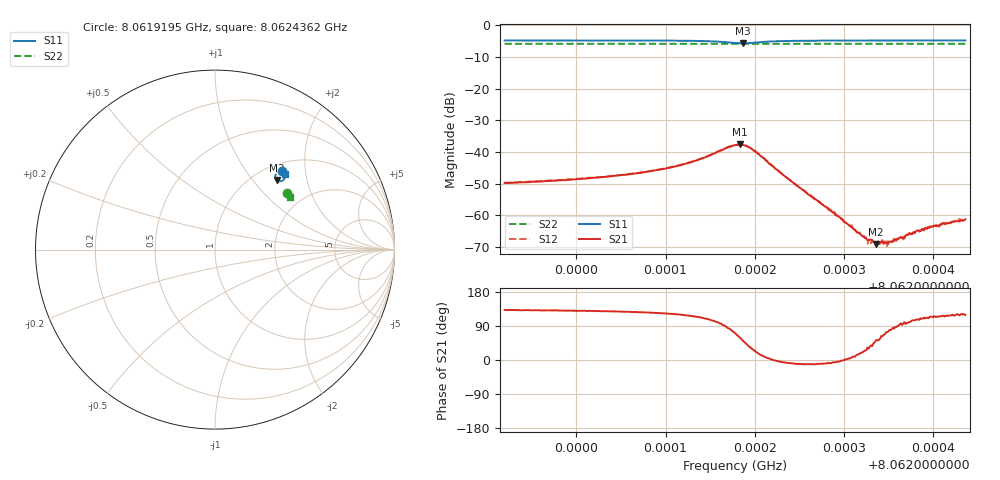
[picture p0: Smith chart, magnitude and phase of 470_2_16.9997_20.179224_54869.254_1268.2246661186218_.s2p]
#  HZ  S  RI  R  50.00
! Rohde & Schwarz Vector Network Analyzer
! Rohde-Schwarz,ZNB20-2Port,1311601062101988,3.16
! Created: UTC 3/20/2024, 11:13:08 PM
! freq[Hz]  re:S11  im:S11  re:S21  im:S21  re:S12  im:S12  re:S22  im:S22
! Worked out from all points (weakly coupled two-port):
!   401 points, 8.0619195 GHz to 8.0624362 GHz, reference 50 ohm
!   highest |S21| = -37.52 dB at 8.062183 GHz (marker M1); lowest = -69.1 dB at 8.0623355 GHz (marker M2)
!   lowest |S11| = -5.7 dB at 8.0621869 GHz (marker M3), VSWR 3.16, Z = 63 + j66.9 ohm
!   |S11| at or under -10 dB: nowhere
!   |S22| runs from -5.9 to -5.8 dB; largest |S21 - S12| = 0.00097
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8.06191947e9  0.3718 0.4401  -0.0022 0.00241  -0.00207 0.00253  0.4009 0.3159
8.06200603e9  0.3782 0.4339  -0.00244 0.00294  -0.00227 0.00309  0.4042 0.3116
8.06205641e9  0.3826 0.4291  -0.00267 0.00351  -0.00248 0.00372  0.406 0.309
8.06209259e9  0.3862 0.4239  -0.00293 0.00437  -0.00269 0.00459  0.4074 0.3069
8.06212747e9  0.3897 0.4145  -0.00308 0.00611  -0.00276 0.00637  0.4085 0.3049
8.06217786e9  0.3629 0.3811  0.00413 0.0122  0.00508 0.0119  0.4087 0.3013
8.06218302e9  0.3521 0.3836  0.00675 0.0115  0.00737 0.0109  0.4083 0.3013
8.0621869e9  0.3448 0.3882  0.00817 0.01  0.00876 0.00967  0.4083 0.3015
8.06219982e9  0.3363 0.4127  0.00947 0.00432  0.00987 0.00365  0.4087 0.3021
8.06223341e9  0.3593 0.4352  0.00417 -0.000462  0.00417 -0.000747  0.4112 0.3012
8.06226442e9  0.3711 0.4346  0.00191 -0.000369  0.0019 -0.00051  0.4126 0.2995
8.06230705e9  0.3792 0.4314  0.000678 4.92e-05  0.000678 -1.26e-05  0.4145 0.2973
8.06232514e9  0.3817 0.43  0.000393 0.000192  0.000408 0.000182  0.4151 0.2962
8.06233547e9  0.3828 0.4292  0.000224 0.000267  0.00027 0.000249  0.4154 0.2956
8.06233806e9  0.3831 0.4291  0.000244 0.000304  0.000253 0.000294  0.4155 0.2955
8.06234452e9  0.3838 0.4288  0.000142 0.000327  0.000182 0.000323  0.4156 0.2951
8.06235098e9  0.3844 0.4283  7.22e-05 0.000378  0.000124 0.000374  0.4158 0.2949
8.06236648e9  0.3859 0.4272  -4.4e-05 0.000452  -3.89e-05 0.000419  0.4166 0.2941
8.06238069e9  0.3873 0.4263  -0.000156 0.000542  -0.000112 0.000551  0.417 0.2932
8.0623962e9  0.3884 0.4253  -0.000265 0.000589  -0.000229 0.000636  0.4175 0.2924
8.0624117e9  0.3897 0.4245  -0.000343 0.000674  -0.000325 0.000688  0.418 0.2917
8.06243625e9  0.3914 0.4228  -0.000422 0.000763  -0.000401 0.000793  0.4188 0.2903
